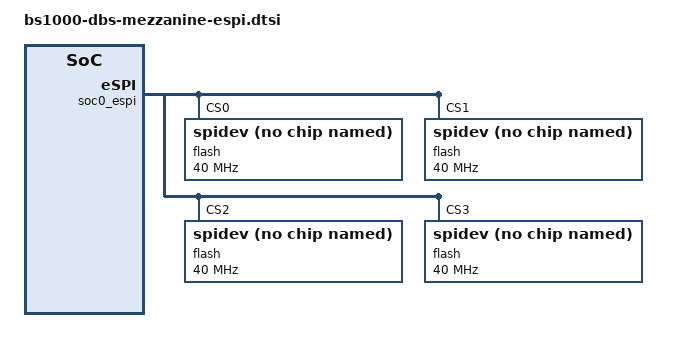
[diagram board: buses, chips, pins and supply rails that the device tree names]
// SPDX-License-Identifier: GPL-2.0
/*
 * Device tree include file for DBS socket X6.16 mezzanine board
 * Copyright (C) 2023-2025 Baikal Electronics, JSC
 */

&soc0_espi {
	status = "okay";
	num-cs = <4>;

	flash@0 {
		compatible = "rohm,dh2228fv";
		reg = <0>;
		#address-cells = <1>;
		#size-cells = <1>;
		spi-max-frequency = <40000000>;
		spi-tx-bus-width = <1>;
		spi-rx-bus-width = <1>;
		status = "okay";
	};

	flash@1 {
		compatible = "rohm,dh2228fv";
		reg = <1>;
		#address-cells = <1>;
		#size-cells = <1>;
		spi-max-frequency = <40000000>;
		spi-tx-bus-width = <1>;
		spi-rx-bus-width = <1>;
		status = "okay";
	};

	flash@2 {
		compatible = "rohm,dh2228fv";
		reg = <2>;
		#address-cells = <1>;
		#size-cells = <1>;
		spi-max-frequency = <40000000>;
		spi-tx-bus-width = <1>;
		spi-rx-bus-width = <1>;
		status = "okay";
	};

	flash@3 {
		compatible = "rohm,dh2228fv";
		reg = <3>;
		#address-cells = <1>;
		#size-cells = <1>;
		spi-max-frequency = <40000000>;
		spi-tx-bus-width = <1>;
		spi-rx-bus-width = <1>;
		status = "okay";
	};
};
